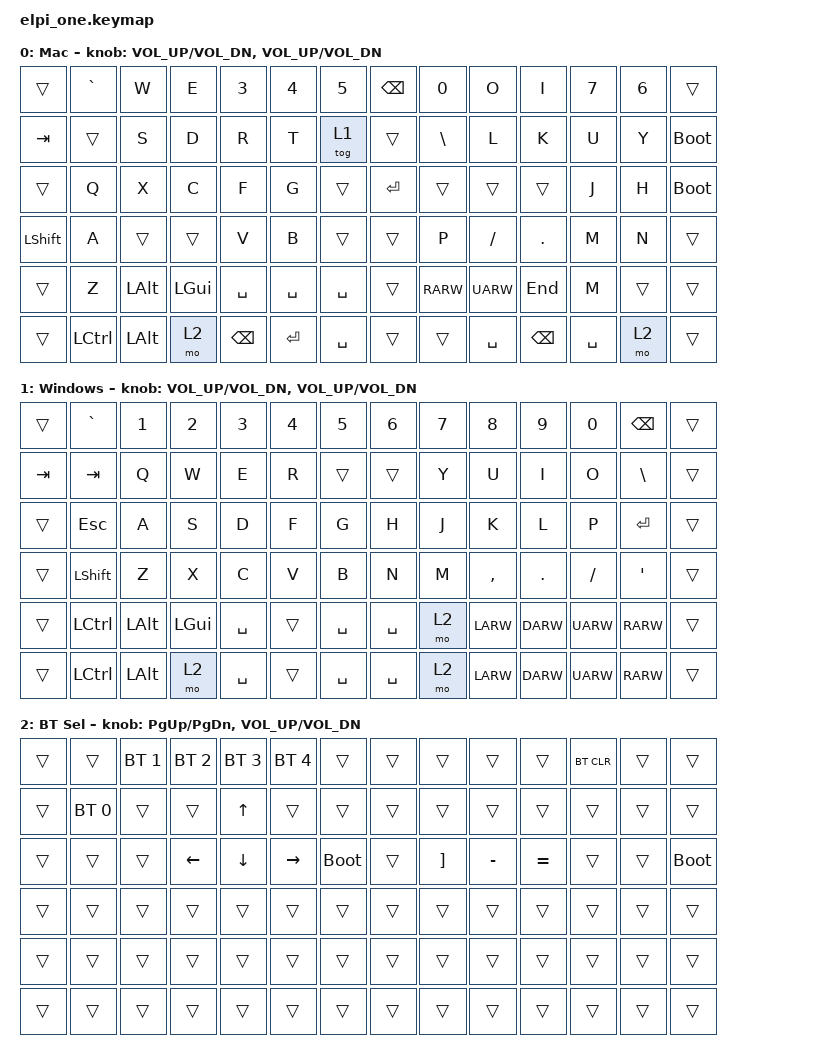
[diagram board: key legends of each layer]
/*
 * Copyright (c) 2020 The ZMK Contributors
 *
 * SPDX-License-Identifier: MIT
 */

#include <behaviors.dtsi>
#include <dt-bindings/zmk/keys.h>
#include <dt-bindings/zmk/bt.h>

/ {
    keymap {
        compatible = "zmk,keymap";

        default_layer {
            label = "Mac";
            // -----------------------------------------------------------------------  
            // | ` | 1 | 2 | 3 | 4 | 5 | 6 | 7 | 8 | 9 | 0 | BKSP |
            // | TAB | Q | W | F | P | B | J | L | U | Y | ; | \ |
            // | ESC | A | R | S | T | G | H | N | E | I | O | ENT |y
            // | SHFT | Z | X | C | D | V | K | M | , | . | / | APOS |
            // | CTRL | ALT | GUI | SPC | SPC | SPC | SPC | LOW | LARW | DARW | UARW | RARW |
            // -----------------------------------------------------------------------

        bindings = < 
                &trans     &kp GRAVE  &kp W    &kp E    &kp N3    &kp N4    &kp N5          &kp BSPC  &kp N0     &kp O      &kp I     &kp N7     &kp N6     &trans
                &kp TAB    &trans     &kp S    &kp D    &kp R     &kp T     &tog 1          &trans    &kp BSLH   &kp L      &kp K     &kp U      &kp Y      &bootloader
                &trans     &kp Q      &kp X    &kp C    &kp F     &kp G     &trans          &kp RET   &trans     &trans     &trans    &kp J      &kp H      &bootloader
                &kp LSHFT  &kp A      &trans   &trans   &kp V     &kp B     &trans          &trans    &kp P      &kp FSLH   &kp DOT   &kp M      &kp N      &trans
                &trans     &kp Z      &kp LALT &kp LGUI &kp SPACE &kp SPACE &kp SPACE       &trans    &kp RARW   &kp UARW   &kp END   &kp M      &trans     &trans
                &trans     &kp LCTRL  &kp LALT &mo 2    &kp BSPC  &kp RET   &kp SPACE       &trans    &trans     &kp SPACE  &kp BSPC  &kp SPACE  &mo 2      &trans
            >;

            sensor-bindings = <&inc_dec_kp C_VOL_UP C_VOL_DN &inc_dec_kp C_VOL_UP C_VOL_DN>;
        };

        windows_layer {
            label = "Windows";

            bindings = < 
                &trans     &kp GRAVE  &kp N1   &kp N2   &kp N3    &kp N4    &kp N5    &kp N6    &kp N7   &kp N8    &kp N9   &kp N0   &kp BSPC &trans
                &kp TAB    &kp TAB    &kp Q    &kp W    &kp E     &kp R     &trans    &trans    &kp Y    &kp U     &kp I    &kp O    &kp BSLH &trans
                &trans     &kp ESC    &kp A    &kp S    &kp D     &kp F     &kp G     &kp H     &kp J    &kp K     &kp L    &kp P    &kp RET  &trans
                &trans     &kp LSHFT  &kp Z    &kp X    &kp C     &kp V     &kp B     &kp N     &kp M    &kp COMMA &kp DOT  &kp FSLH &kp APOS &trans
                &trans     &kp LCTRL  &kp LALT &kp LGUI &kp SPACE &trans    &kp SPACE &kp SPACE &mo 2    &kp LARW  &kp DARW &kp UARW &kp RARW &trans
                &trans     &kp LCTRL  &kp LALT &mo 2    &kp SPACE &trans    &kp SPACE &kp SPACE &mo 2    &kp LARW  &kp DARW &kp UARW &kp RARW &trans
            >;

            sensor-bindings = <&inc_dec_kp C_VOL_UP C_VOL_DN &inc_dec_kp C_VOL_UP C_VOL_DN>;
        };

        lower_layer {
                label = "BT Sel";
                // ------------------------------------------------------------------------------------------------------------
                // |       |  BT1  |  BT2  |  BT3  |  BT4  |  BT5  |          |       |       |       |       |       | BTCLR |
                // |       |       |       |       |       |       |          |       |       |       |       |       |       |
                // |       |       |       | LPAR  | RPAR  |       |          |       | LBKT  | RBKT  |       |       |       |
                // |       |       |       |       |       |       |          |       |       |       |       |       |       |
                bindings = <
                        &trans    &trans         &bt BT_SEL 1   &bt BT_SEL 2   &bt BT_SEL 3   &bt BT_SEL 4   &trans             &trans    &trans   &trans      &trans     &bt BT_CLR &trans &trans
                        &trans    &bt BT_SEL 0   &trans         &trans         &kp UP         &trans         &trans             &trans    &trans   &trans      &trans     &trans     &trans &trans
                        &trans    &trans         &trans         &kp LEFT       &kp DOWN       &kp RIGHT      &bootloader        &trans    &kp RBKT &kp MINUS   &kp EQUAL  &trans     &trans &bootloader
                        &trans    &trans         &trans         &trans         &trans         &trans         &trans             &trans    &trans   &trans      &trans     &trans     &trans &trans
                        &trans    &trans         &trans         &trans         &trans         &trans         &trans             &trans    &trans   &trans      &trans     &trans     &trans &trans
                        &trans    &trans         &trans         &trans         &trans         &trans         &trans             &trans    &trans   &trans      &trans     &trans     &trans &trans
                >;

                sensor-bindings = <&inc_dec_kp PG_UP PG_DN &inc_dec_kp C_VOL_UP C_VOL_DN>;
        };
    };
};
